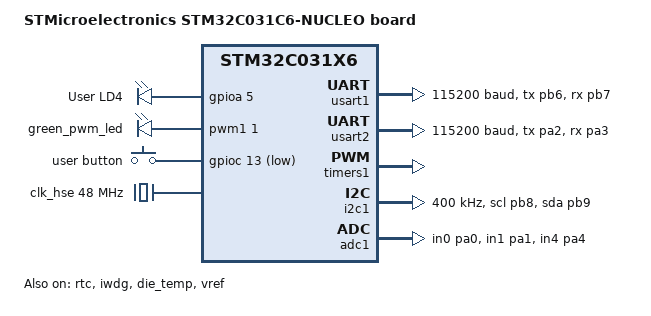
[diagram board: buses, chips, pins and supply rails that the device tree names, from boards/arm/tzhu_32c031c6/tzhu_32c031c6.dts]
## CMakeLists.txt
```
cmake_minimum_required(VERSION 3.13.1)

set(ENV{APP_BASE} $ENV{ZEPHYR_BASE}/../apps)

list(APPEND BOARD_ROOT ${CMAKE_CURRENT_SOURCE_DIR})

find_package(Zephyr)

project(app LANGUAGES C)

target_sources(app PRIVATE src/main.c)
```

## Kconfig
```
# Kconfig -- (c)2023-2024 Lightelligence, Inc.

choice

	prompt "Product selection"
	default PROD_STM32F4_CB
	help
		Product selection.

config PROD_YEHUO_103ZE
	bool "Yehuo 103ze series"
	help
		Yehuo series.

config PROD_STM32F4_CB
	bool "STM32F4 Core Board"
	help
		STM32F4 Core Board.

config PROD_TZHU_32C031C6
	bool "TZHU_32C031C6"
	help
		TZHU 32C031C6 EVB.

endchoice

# source "$(APPLICATION_SOURCE_DIR)/drivers/Kconfig"
source "Kconfig.zephyr"
```

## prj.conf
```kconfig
# CONFIG_SOC_SERIES_STM32C0X=y
# CONFIG_SOC_STM32C031XX=y
```

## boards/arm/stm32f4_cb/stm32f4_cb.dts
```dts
/*
 * SPDX-License-Identifier: Apache-2.0
 */

/dts-v1/;
#include <st/f4/stm32f411Xe.dtsi>
#include <st/f4/stm32f401c(d-e)ux-pinctrl.dtsi>
#include <zephyr/dt-bindings/memory-attr/memory-attr.h>

/ {
	model = "STM32F411CEUb Core board";
	compatible = "st,stm32f4_cb";

	chosen {
		zephyr,console = &usart1;
		zephyr,shell-uart = &usart1;
		zephyr,sram = &sram0;
		zephyr,flash = &flash0;
		// zephyr,dtcm = &dtcm;
		// zephyr,itcm = &itcm;
        // zephyr,code-partition = &code_partition;
	};

	leds {
		compatible = "gpio-leds";
		status = "okay";
		led_0: led_0 { gpios = <&gpioc 13 GPIO_ACTIVE_LOW>; label = "LED_0"; };
	};

	gpio_keyss {
		compatible = "gpio-keys";
		status = "okay";
		key_0: key_0 { gpios = <&gpioc 12 (GPIO_PULL_UP | GPIO_ACTIVE_LOW)>; label = "KEY_0"; };
	};

    aliases {
		led0 = &led_0;
		key0 = &key_0;
	};
};

// &clk_hsi48 {
// 	status = "okay";
// };

&clk_lse {
	status = "okay";
};

&clk_hse {
	clock-frequency = <DT_FREQ_M(25)>;
	status = "okay";
};

&pll {
	// div-m = <15>;
	// mul-n = <144>;
	// div-p = <2>;
	// div-q = <5>;

	div-m = <25>;
	mul-n = <192>;
	div-p = <2>;
	div-q = <4>;

	div-r = <2>;
	clocks = <&clk_hse>;
	status = "okay";
};

&rcc {
	clocks = <&pll>;
	clock-frequency = <DT_FREQ_M(96)>;
	ahb-prescaler = <1>;
	apb1-prescaler = <2>;
	apb2-prescaler = <1>;
	// d1cpre = <1>;
	// hpre = <2>;
	// d1ppre = <2>;
	// d2ppre1 = <2>;
	// d2ppre2 = <2>;
	// d3ppre = <2>;
};

&usart1 {
	pinctrl-0 = <&usart1_tx_pa9 &usart1_rx_pa10>;
	pinctrl-names = "default";
	current-speed = <115200>;
	status = "okay";
};

zephyr_udc0: &usbotg_fs {
	pinctrl-0 = <&usb_otg_fs_dm_pa11 &usb_otg_fs_dp_pa12>;
	pinctrl-names = "default";
	status = "okay";
};
```

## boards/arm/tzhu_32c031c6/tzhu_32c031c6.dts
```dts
/*
 * Copyright (c) 2023 Benjamin Björnsson <benjamin.bjornsson@gmail.com>
 *
 * SPDX-License-Identifier: Apache-2.0
 */

/dts-v1/;
#include <st/c0/stm32c031X6.dtsi>
#include <st/c0/stm32c031c(4-6)tx-pinctrl.dtsi>
#include "arduino_r3_connector.dtsi"
#include <zephyr/dt-bindings/input/input-event-codes.h>

/ {
	model = "STMicroelectronics STM32C031C6-NUCLEO board";
	compatible = "st,tzhu_32c031c6";

	chosen {
		zephyr,console = &usart2;
		zephyr,shell-uart = &usart2;
		zephyr,sram = &sram0;
		zephyr,flash = &flash0;
	};

	leds: leds {
		compatible = "gpio-leds";
		green_led_4: led_4 {
			gpios = <&gpioa 5 GPIO_ACTIVE_HIGH>;
			label = "User LD4";
		};
	};

	pwmleds {
		compatible = "pwm-leds";

		green_pwm_led: green_pwm_led {
			pwms = <&pwm1 1 PWM_MSEC(20) PWM_POLARITY_NORMAL>;
		};
	};

	gpio_keys {
		compatible = "gpio-keys";
		user_button: button {
			label = "user button";
			gpios = <&gpioc 13 GPIO_ACTIVE_LOW>;
			status = "okay";
			zephyr,code = <INPUT_KEY_0>;
		};
	};

	aliases {
		led0 = &green_led_4;
		pwm-led0 = &green_pwm_led;
		sw0 = &user_button;
		watchdog0 = &iwdg;
		die-temp0 = &die_temp;
		volt-sensor0 = &vref;
	};
};

&clk_lse {
	status = "okay";
};

&clk_hse {
	clock-frequency = <DT_FREQ_M(48)>;
	status = "okay";
};

&rcc {
	clocks = <&clk_hse>;
	clock-frequency = <DT_FREQ_M(48)>;
	ahb-prescaler = <1>;
	apb1-prescaler = <1>;
};

&usart1 {
	pinctrl-0 = <&usart1_tx_pb6 &usart1_rx_pb7>;
	pinctrl-names = "default";
	current-speed = <115200>;
};

&usart2 {
	pinctrl-0 = <&usart2_tx_pa2 &usart2_rx_pa3>;
	pinctrl-names = "default";
	current-speed = <115200>;
	status = "okay";
};

&rtc {
	clocks = <&rcc STM32_CLOCK_BUS_APB1 0x00000400>,
		 <&rcc STM32_SRC_LSE RTC_SEL(1)>;
	status = "okay";
};

&iwdg {
	status = "okay";
};

&timers1 {
	st,prescaler = <10000>;
	status = "okay";

	pwm1: pwm {
		pinctrl-0 = <&tim1_ch1_pa5>;
		pinctrl-names = "default";
		status = "okay";
	};
};

&i2c1 {
	pinctrl-0 = <&i2c1_scl_pb8 &i2c1_sda_pb9>;
	pinctrl-names = "default";
	status = "okay";
	clock-frequency = <I2C_BITRATE_FAST>;
};

&adc1 {
	pinctrl-0 = <&adc1_in0_pa0 &adc1_in1_pa1 &adc1_in4_pa4>;
	pinctrl-names = "default";
	st,adc-clock-source = <SYNC>;
	st,adc-prescaler = <4>;
	status = "okay";
};

&die_temp {
	status = "okay";
};

&vref {
	status = "okay";
};

&dma1 {
	status = "okay";
};

&dmamux1 {
	status = "okay";
};
```

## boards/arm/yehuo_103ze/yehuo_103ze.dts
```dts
/*
 * Copyright (c) 2020 WuhanStudio
 *
 * SPDX-License-Identifier: Apache-2.0
 */

/dts-v1/;
#include <st/f1/stm32f103Xc.dtsi>
#include <st/f1/stm32f103z(c-d-e)tx-pinctrl.dtsi>

/ {
	model = "yehuo stm32f103zet6 board";
	compatible = "st,yehuo_103ze";

	chosen {
		zephyr,console = &usart1;
		zephyr,shell-uart = &usart1;
		zephyr,sram = &sram0;
		zephyr,flash = &flash0;
	};

	leds {
		compatible = "gpio-leds";
		green_led_1: led_1 {
			gpios = <&gpioc 13 GPIO_ACTIVE_LOW>;
			label = "User LD1";
		};
	};

	aliases {
		led0 = &green_led_1;
		watchdog0 = &iwdg;
		die-temp0 = &die_temp;
	};
};

&clk_lsi {
	status = "okay";
};

&clk_hse {
	clock-frequency = <DT_FREQ_M(8)>;
	status = "okay";
};

&pll {
	mul = <9>;
	clocks = <&clk_hse>;
	status = "okay";
};

&rcc {
	clocks = <&pll>;
	clock-frequency = <DT_FREQ_M(72)>;
	ahb-prescaler = <1>;
	apb1-prescaler = <2>;
	apb2-prescaler = <1>;
	/* usbpre not set: USB clock = 72 / 1.5: 48MHz */
};

&usart1 {
	pinctrl-0 = <&usart1_tx_pa9 &usart1_rx_pa10>;
	pinctrl-names = "default";
	current-speed = <115200>;
	status = "okay";
};

&usart2 {
	pinctrl-0 = <&usart2_tx_pa2 &usart2_rx_pa3>;
	pinctrl-names = "default";
	current-speed = <115200>;
};

&usart3 {
	pinctrl-0 = <&usart3_tx_pb10 &usart3_rx_pb11>;
	pinctrl-names = "default";
	current-speed = <115200>;
};

&i2c1 {
	pinctrl-0 = <&i2c1_scl_remap1_pb8 &i2c1_sda_remap1_pb9>;
	pinctrl-names = "default";
	status = "okay";
	clock-frequency = <I2C_BITRATE_FAST>;
};

&spi1 {
	pinctrl-0 = <&spi1_nss_master_pa4 &spi1_sck_master_pa5
		     &spi1_miso_master_pa6 &spi1_mosi_master_pa7>;
	pinctrl-names = "default";
	status = "okay";
};

&spi2 {
	pinctrl-0 = <&spi2_nss_master_pb12 &spi2_sck_master_pb13
		     &spi2_miso_master_pb14 &spi2_mosi_master_pb15>;
	pinctrl-names = "default";
	status = "okay";
};

&iwdg {
	status = "okay";
};

&timers1 {
	st,prescaler = <10000>;
	status = "okay";

	pwm1: pwm {
		status = "okay";
		pinctrl-0 = <&tim1_ch1_pwm_out_pa8>;
		pinctrl-names = "default";
	};
};

zephyr_udc0: &usb {
	pinctrl-0 = <&usb_dm_pa11 &usb_dp_pa12>;
	pinctrl-names = "default";
	status = "okay";
};

&rtc {
	clocks = <&rcc STM32_CLOCK_BUS_APB1 0x10000000>,
		 <&rcc STM32_SRC_LSI RTC_SEL(2)>;
	status = "okay";
};

&adc1 {
	pinctrl-0 = <&adc1_in0_pa0>;
	pinctrl-names = "default";
	status = "okay";
};

&die_temp {
	status = "okay";
};
```

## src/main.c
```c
/*
 * Copyright (c) 2016 Intel Corporation
 *
 * SPDX-License-Identifier: Apache-2.0
 */

#include <stdio.h>
#include <zephyr/kernel.h>
#include <zephyr/sys/printk.h>
#include <zephyr/drivers/gpio.h>

/* 1000 msec = 1 sec */
#define SLEEP_TIME_MS   1000

/* The devicetree node identifier for the "led0" alias. */
#define LED0_NODE DT_ALIAS(led0)

/*
 * A build error on this line means your board is unsupported.
 * See the sample documentation for information on how to fix this.
 */
static const struct gpio_dt_spec led = GPIO_DT_SPEC_GET(LED0_NODE, gpios);

int main(void)
{
	int ret;
	int seconds = 0;
	bool led_state = true;

	if (!gpio_is_ready_dt(&led)) {
		return 0;
	}

	ret = gpio_pin_configure_dt(&led, GPIO_OUTPUT_ACTIVE);
	if (ret < 0) {
		return 0;
	}

	while (1) {
    	printk("Hello world from %d!\n", seconds++);
		ret = gpio_pin_toggle_dt(&led);
		if (ret < 0) {
			return 0;
		}

		led_state = !led_state;
		printf("LED state: %s\n", led_state ? "ON" : "OFF");
		k_msleep(SLEEP_TIME_MS);
	}
	return 0;
}
```
